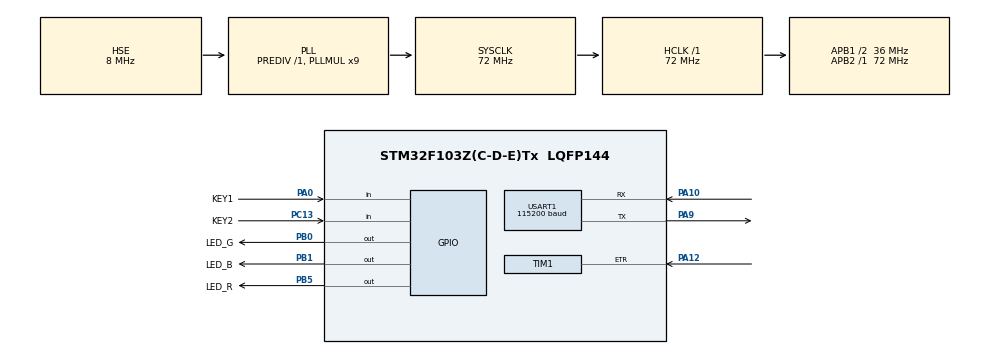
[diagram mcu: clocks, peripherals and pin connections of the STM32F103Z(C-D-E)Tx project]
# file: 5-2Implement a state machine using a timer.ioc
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Mcu.Family=STM32F1
Mcu.Name=STM32F103Z(C-D-E)Tx
Mcu.Package=LQFP144
NVIC.PriorityGroup=NVIC_PRIORITYGROUP_4
NVIC.TIM3_IRQn=true\:9\:0\:true\:false\:true\:true\:true\:true
NVIC.USART1_IRQn=true\:10\:0\:true\:false\:true\:true\:true\:true
OSC_IN.Mode=HSE-External-Oscillator
OSC_IN.Signal=RCC_OSC_IN
OSC_OUT.Mode=HSE-External-Oscillator
OSC_OUT.Signal=RCC_OSC_OUT
PA0-WKUP.GPIO_Label=KEY1
PA0-WKUP.GPIO_PuPd=GPIO_PULLDOWN
PA0-WKUP.Signal=GPIO_Input
PA10.Mode=Asynchronous
PA10.Signal=USART1_RX
PA12.Signal=S_TIM1_ETR
PA13.Mode=Serial_Wire
PA13.Signal=SYS_JTMS-SWDIO
PA14.Mode=Serial_Wire
PA14.Signal=SYS_JTCK-SWCLK
PA9.Mode=Asynchronous
PA9.Signal=USART1_TX
PB0.GPIO_Label=LED_G
PB0.GPIO_ModeDefaultOutputPP=GPIO_MODE_OUTPUT_PP
PB0.GPIO_Speed=GPIO_SPEED_FREQ_HIGH
PB0.PinState=GPIO_PIN_SET
PB0.Signal=GPIO_Output
PB1.GPIO_Label=LED_B
PB1.GPIO_Speed=GPIO_SPEED_FREQ_HIGH
PB1.PinState=GPIO_PIN_SET
PB1.Signal=GPIO_Output
PB5.GPIO_Label=LED_R
PB5.GPIO_Speed=GPIO_SPEED_FREQ_HIGH
PB5.PinState=GPIO_PIN_SET
PB5.Signal=GPIO_Output
PC13-TAMPER-RTC.GPIO_Label=KEY2
PC13-TAMPER-RTC.GPIO_PuPd=GPIO_PULLDOWN
PC13-TAMPER-RTC.Signal=GPIO_Input
PC14-OSC32_IN.Mode=LSE-External-Oscillator
PC14-OSC32_IN.Signal=RCC_OSC32_IN
PC15-OSC32_OUT.Mode=LSE-External-Oscillator
PC15-OSC32_OUT.Signal=RCC_OSC32_OUT
ProjectManager.HeapSize=0x200
ProjectManager.StackSize=0x400
ProjectManager.TargetToolchain=MDK-ARM V5
RCC.AHBFreq_Value=72000000
RCC.APB1CLKDivider=RCC_HCLK_DIV2
RCC.APB1Freq_Value=36000000
RCC.APB1TimFreq_Value=72000000
RCC.APB2Freq_Value=72000000
RCC.APB2TimFreq_Value=72000000
RCC.HCLKFreq_Value=72000000
RCC.PLLMUL=RCC_PLL_MUL9
RCC.PLLSourceVirtual=RCC_PLLSOURCE_HSE
RCC.SYSCLKFreq_VALUE=72000000
RCC.SYSCLKSource=RCC_SYSCLKSOURCE_PLLCLK
RCC.USBFreq_Value=72000000
SH.S_TIM1_ETR.0=TIM1_ETR,ClockSourceETR_Mode2
TIM3.Period=99
TIM3.Prescaler=7199
USART1.BaudRate=115200
USART1.Mode=MODE_TX_RX
USART1.VirtualMode=VM_ASYNC
USART1.WordLength=WORDLENGTH_8B
VP_TIM3_VS_ClockSourceINT.Mode=Internal
board=custom

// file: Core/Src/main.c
/* USER CODE BEGIN Header */
/**
  ******************************************************************************
  * @file           : main.c
  * @brief          : Main program body
  ******************************************************************************
  * @attention
  *
  * Copyright (c) 2026 STMicroelectronics.
  * All rights reserved.
  *
  * This software is licensed under terms that can be found in the LICENSE file
  * in the root directory of this software component.
  * If no LICENSE file comes with this software, it is provided AS-IS.
  *
  ******************************************************************************
  */
/* USER CODE END Header */
#include "main.h"

/* USER CODE BEGIN Includes */
#include <stdio.h>

/* USER CODE END Includes */

TIM_HandleTypeDef htim1;
TIM_HandleTypeDef htim3;

UART_HandleTypeDef huart1;

/* USER CODE BEGIN PV */
unsigned char KeyState = KEY_CHEKC; // 按键状态变量, 默认为检测状态
unsigned char KeyFlag = 0; // 按键有效状态, 1有效, 0无效

/* USER CODE END PV */

void SystemClock_Config(void);
static void MX_GPIO_Init(void);
static void MX_USART1_UART_Init(void);
static void MX_TIM3_Init(void);
static void MX_TIM1_Init(void);

/* USER CODE BEGIN 0 */
int fputc(int ch, FILE *f)
{
    HAL_UART_Transmit(&huart1, (uint8_t*)&ch, 1, HAL_MAX_DELAY);
    return ch;
}
/* USER CODE END 0 */

int main(void)
{

  /* MCU Configuration--------------------------------------------------------*/

  /* Reset of all peripherals, Initializes the Flash interface and the Systick. */
  HAL_Init();

  /* Configure the system clock */
  SystemClock_Config();

  /* Initialize all configured peripherals */
  MX_GPIO_Init();
  MX_USART1_UART_Init();
  MX_TIM3_Init();
  MX_TIM1_Init();
  /* USER CODE BEGIN 2 */
  printf("Press KEY1, and PA12 will count pulse! \r\n"); // 提示信息，按下按键后PA12引脚会输出脉冲信号

  /* USER CODE END 2 */

  /* Infinite loop */
  /* USER CODE BEGIN WHILE */
  while (1)
  {
    if(KeyFlag)
    {
      KeyFlag = 0;
      LED_R(0); // 点亮LED
      HAL_Delay(1);
      LED_R(1); // 熄灭LED
      HAL_Delay(1);
      unsigned int result = __HAL_TIM_GET_COUNTER(&htim1); // 读取定时器1的计数值
      printf("Input pulse = %d \r\n", result); // 输出计数值
    }
    /* USER CODE END WHILE */

  }
}

void SystemClock_Config(void)
{
  RCC_OscInitTypeDef RCC_OscInitStruct = {0};
  RCC_ClkInitTypeDef RCC_ClkInitStruct = {0};

  /** Initializes the RCC Oscillators according to the specified parameters
  * in the RCC_OscInitTypeDef structure.
  */
  RCC_OscInitStruct.OscillatorType = RCC_OSCILLATORTYPE_HSE;
  RCC_OscInitStruct.HSEState = RCC_HSE_ON;
  RCC_OscInitStruct.HSEPredivValue = RCC_HSE_PREDIV_DIV1;
  RCC_OscInitStruct.HSIState = RCC_HSI_ON;
  RCC_OscInitStruct.PLL.PLLState = RCC_PLL_ON;
  RCC_OscInitStruct.PLL.PLLSource = RCC_PLLSOURCE_HSE;
  RCC_OscInitStruct.PLL.PLLMUL = RCC_PLL_MUL9;
  if (HAL_RCC_OscConfig(&RCC_OscInitStruct) != HAL_OK)
  {
    Error_Handler();
  }

  /** Initializes the CPU, AHB and APB buses clocks
  */
  RCC_ClkInitStruct.ClockType = RCC_CLOCKTYPE_HCLK|RCC_CLOCKTYPE_SYSCLK
                              |RCC_CLOCKTYPE_PCLK1|RCC_CLOCKTYPE_PCLK2;
  RCC_ClkInitStruct.SYSCLKSource = RCC_SYSCLKSOURCE_PLLCLK;
  RCC_ClkInitStruct.AHBCLKDivider = RCC_SYSCLK_DIV1;
  RCC_ClkInitStruct.APB1CLKDivider = RCC_HCLK_DIV2;
  RCC_ClkInitStruct.APB2CLKDivider = RCC_HCLK_DIV1;

  if (HAL_RCC_ClockConfig(&RCC_ClkInitStruct, FLASH_LATENCY_2) != HAL_OK)
  {
    Error_Handler();
  }
}

static void MX_TIM1_Init(void)
{

  TIM_ClockConfigTypeDef sClockSourceConfig = {0};
  TIM_MasterConfigTypeDef sMasterConfig = {0};

  htim1.Instance = TIM1;
  htim1.Init.Prescaler = 0;
  htim1.Init.CounterMode = TIM_COUNTERMODE_UP;
  htim1.Init.Period = 65535;
  htim1.Init.ClockDivision = TIM_CLOCKDIVISION_DIV1;
  htim1.Init.RepetitionCounter = 0;
  htim1.Init.AutoReloadPreload = TIM_AUTORELOAD_PRELOAD_DISABLE;
  if (HAL_TIM_Base_Init(&htim1) != HAL_OK)
  {
    Error_Handler();
  }
  sClockSourceConfig.ClockSource = TIM_CLOCKSOURCE_ETRMODE2;
  sClockSourceConfig.ClockPolarity = TIM_CLOCKPOLARITY_NONINVERTED;
  sClockSourceConfig.ClockPrescaler = TIM_CLOCKPRESCALER_DIV1;
  sClockSourceConfig.ClockFilter = 0;
  if (HAL_TIM_ConfigClockSource(&htim1, &sClockSourceConfig) != HAL_OK)
  {
    Error_Handler();
  }
  sMasterConfig.MasterOutputTrigger = TIM_TRGO_RESET;
  sMasterConfig.MasterSlaveMode = TIM_MASTERSLAVEMODE_DISABLE;
  if (HAL_TIMEx_MasterConfigSynchronization(&htim1, &sMasterConfig) != HAL_OK)
  {
    Error_Handler();
  }
  /* USER CODE BEGIN TIM1_Init 2 */
  HAL_TIM_Base_Start(&htim1); // 启动定时器1

  /* USER CODE END TIM1_Init 2 */

}

static void MX_TIM3_Init(void)
{

  TIM_ClockConfigTypeDef sClockSourceConfig = {0};
  TIM_MasterConfigTypeDef sMasterConfig = {0};

  htim3.Instance = TIM3;
  htim3.Init.Prescaler = 7199;
  htim3.Init.CounterMode = TIM_COUNTERMODE_UP;
  htim3.Init.Period = 99;
  htim3.Init.ClockDivision = TIM_CLOCKDIVISION_DIV1;
  htim3.Init.AutoReloadPreload = TIM_AUTORELOAD_PRELOAD_DISABLE;
  if (HAL_TIM_Base_Init(&htim3) != HAL_OK)
  {
    Error_Handler();
  }
  sClockSourceConfig.ClockSource = TIM_CLOCKSOURCE_INTERNAL;
  if (HAL_TIM_ConfigClockSource(&htim3, &sClockSourceConfig) != HAL_OK)
  {
    Error_Handler();
  }
  sMasterConfig.MasterOutputTrigger = TIM_TRGO_RESET;
  sMasterConfig.MasterSlaveMode = TIM_MASTERSLAVEMODE_DISABLE;
  if (HAL_TIMEx_MasterConfigSynchronization(&htim3, &sMasterConfig) != HAL_OK)
  {
    Error_Handler();
  }
  /* USER CODE BEGIN TIM3_Init 2 */
  HAL_TIM_Base_Start_IT(&htim3); // 启动定时器3的中断

  /* USER CODE END TIM3_Init 2 */

}

static void MX_USART1_UART_Init(void)
{

  huart1.Instance = USART1;
  huart1.Init.BaudRate = 115200;
  huart1.Init.WordLength = UART_WORDLENGTH_8B;
  huart1.Init.StopBits = UART_STOPBITS_1;
  huart1.Init.Parity = UART_PARITY_NONE;
  huart1.Init.Mode = UART_MODE_TX_RX;
  huart1.Init.HwFlowCtl = UART_HWCONTROL_NONE;
  huart1.Init.OverSampling = UART_OVERSAMPLING_16;
  if (HAL_UART_Init(&huart1) != HAL_OK)
  {
    Error_Handler();
  }

}

static void MX_GPIO_Init(void)
{
  GPIO_InitTypeDef GPIO_InitStruct = {0};

  /* GPIO Ports Clock Enable */
  __HAL_RCC_GPIOC_CLK_ENABLE();
  __HAL_RCC_GPIOA_CLK_ENABLE();
  __HAL_RCC_GPIOB_CLK_ENABLE();

  /*Configure GPIO pin Output Level */
  HAL_GPIO_WritePin(GPIOB, LED_G_Pin|LED_B_Pin|LED_R_Pin, GPIO_PIN_SET);

  /*Configure GPIO pin : KEY2_Pin */
  GPIO_InitStruct.Pin = KEY2_Pin;
  GPIO_InitStruct.Mode = GPIO_MODE_INPUT;
  GPIO_InitStruct.Pull = GPIO_PULLDOWN;
  HAL_GPIO_Init(KEY2_GPIO_Port, &GPIO_InitStruct);

  /*Configure GPIO pin : KEY1_Pin */
  GPIO_InitStruct.Pin = KEY1_Pin;
  GPIO_InitStruct.Mode = GPIO_MODE_INPUT;
  GPIO_InitStruct.Pull = GPIO_PULLDOWN;
  HAL_GPIO_Init(KEY1_GPIO_Port, &GPIO_InitStruct);

  /*Configure GPIO pins : LED_G_Pin LED_B_Pin LED_R_Pin */
  GPIO_InitStruct.Pin = LED_G_Pin|LED_B_Pin|LED_R_Pin;
  GPIO_InitStruct.Mode = GPIO_MODE_OUTPUT_PP;
  GPIO_InitStruct.Pull = GPIO_NOPULL;
  GPIO_InitStruct.Speed = GPIO_SPEED_FREQ_HIGH;
  HAL_GPIO_Init(GPIOB, &GPIO_InitStruct);

}

void Error_Handler(void)
{
  __disable_irq();
  while (1)
  {
  }
}
